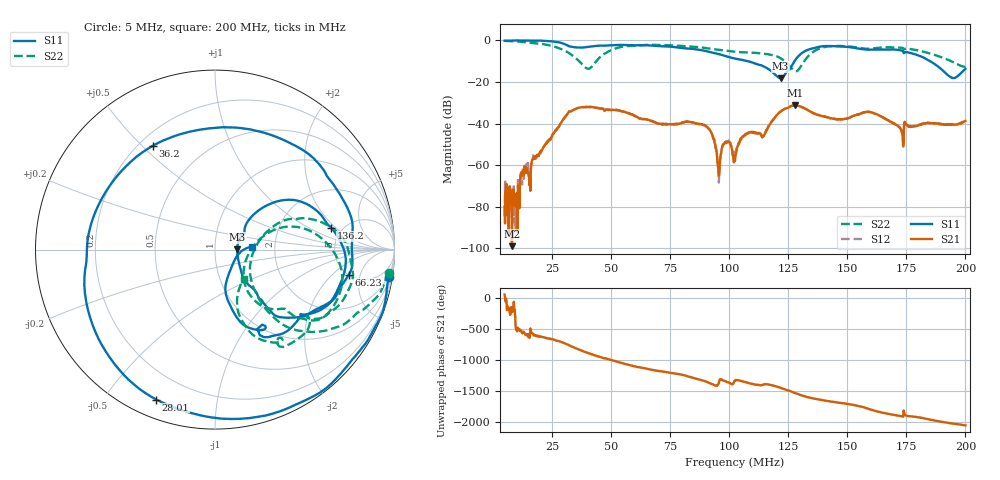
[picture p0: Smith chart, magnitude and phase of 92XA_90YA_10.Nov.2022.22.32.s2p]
!Keysight Technologies N9917A: A.12.46
!Date: Thursday, 10 November 2022 22:32:28
!Timezone: (UTC) Coordinated Universal Time
!Model: N9917A
!Serial: MY56071016
!GPS Latitude:
!GPS Longitude:
!GPS TimeStamp: 0001-01-01 00:00:00Z
!GPS Seconds Since Last Read: 0
!CHECKSUM:1399499414
!Correction: S11(ON U)S21(ON U)S12(ON U)S22(ON U)
!S2P File: Measurements:S11,S21,S12,S22:
# Hz S DB R 50
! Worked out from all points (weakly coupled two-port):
!   1001 points, 5 MHz to 200 MHz, reference 50 ohm
!   highest |S21| = -31.22 dB at 127.8 MHz (marker M1); lowest = -98.9 dB at 8.12 MHz (marker M2)
!   lowest |S11| = -18.1 dB at 121.8 MHz (marker M3), VSWR 1.28, Z = 64.1 + j0.0982 ohm
!   |S11| at or under -10 dB: 108 MHz to 127.7 MHz (19.66 MHz wide, 16.7 % of centre); 185.1 MHz to end of sweep
!   |S22| runs from -14.8 to -0.2 dB; largest |S21 - S12| = 0.0012
!   S11 on the Smith chart (normalised r, x): 5 MHz: 1, -13; 28.01 MHz: 0.08, -0.68; 36.2 MHz: 0.25, +0.54; 66.23 MHz: 5.06, -3.31; 136.2 MHz: 4.06, +1.75; 200 MHz: 1.52, +0.05
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5000000  -0.15 -9.0  -79.79 53.9  -84.48 -131.2  -0.21 -7.7
8120000  -0.09 -16.2  -98.91 -151.3  -77.13 163.0  -0.37 -12.4
2.0015e7  -0.10 -52.5  -53.75 97.3  -54.67 97.9  -1.57 -29.5
2.801e7  -0.94 -111.4  -41.46 24.3  -41.24 24.5  -3.75 -44.1
3.2105e7  -2.71 -171.4  -34.47 -36.8  -34.51 -36.6  -5.99 -49.1
3.62e7  -3.42 120.8  -32.39 -105.4  -32.53 -105.0  -9.61 -46.6
3.7565e7  -3.45 102.2  -32.17 -126.3  -32.16 -126.3  -11.21 -41.8
4.6925e7  -2.52 34.6  -33.16 110.7  -33.05 110.5  -6.57 21.2
6.623e7  -2.40 -10.5  -38.33 -65.4  -38.33 -67.2  -2.12 -11.9
7.013e7  -2.73 -16.8  -40.08 -92.4  -40.01 -92.4  -2.20 -16.9
8.924e7  -4.90 -41.8  -40.66 110.2  -40.50 110.0  -3.52 -36.3
9.548e7  -6.55 -47.9  -62.26 53.9  -64.15 62.2  -4.48 -39.5
9.86e7  -7.55 -47.9  -48.85 100.0  -49.00 97.3  -4.92 -40.1
1.025e8  -8.72 -47.8  -57.89 107.4  -52.17 119.4  -5.44 -40.3
1.21805e8  -18.15 0.3  -34.26 -4.7  -34.17 -4.5  -8.58 -51.8
1.2785e8  -9.68 41.9  -31.22 -87.0  -31.30 -87.1  -14.68 -25.6
1.35065e8  -3.96 14.7  -34.69 -170.3  -34.64 -170.2  -5.94 13.6
1.36235e8  -3.63 10.7  -35.35 -179.9  -35.32 -179.1  -5.03 9.4
1.6763e8  -4.32 -45.2  -38.49 -64.3  -38.71 -65.1  -3.31 -43.0
1.72895e8  -4.80 -57.1  -43.01 -101.1  -43.02 -102.7  -3.49 -52.7
1.94345e8  -17.99 -35.5  -40.56 143.3  -40.50 142.3  -10.19 -66.6
2e8  -13.68 4.6  -38.72 111.8  -38.74 111.9  -12.72 -45.0
